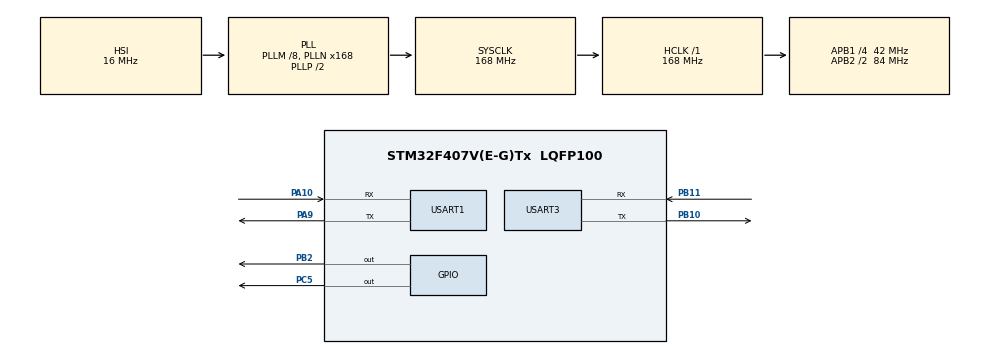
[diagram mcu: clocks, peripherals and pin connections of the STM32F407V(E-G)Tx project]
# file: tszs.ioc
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Mcu.Family=STM32F4
Mcu.Name=STM32F407V(E-G)Tx
Mcu.Package=LQFP100
NVIC.PriorityGroup=NVIC_PRIORITYGROUP_4
NVIC.USART1_IRQn=true\:0\:0\:false\:false\:true\:true\:true\:true
NVIC.USART3_IRQn=true\:0\:0\:false\:false\:true\:true\:true\:true
PA10.Mode=Asynchronous
PA10.Signal=USART1_RX
PA9.Mode=Asynchronous
PA9.Signal=USART1_TX
PB10.Mode=Asynchronous
PB10.Signal=USART3_TX
PB11.Mode=Asynchronous
PB11.Signal=USART3_RX
PB2.PinState=GPIO_PIN_SET
PB2.Signal=GPIO_Output
PC14-OSC32_IN.Mode=LSE-External-Oscillator
PC14-OSC32_IN.Signal=RCC_OSC32_IN
PC15-OSC32_OUT.Mode=LSE-External-Oscillator
PC15-OSC32_OUT.Signal=RCC_OSC32_OUT
PC5.PinState=GPIO_PIN_SET
PC5.Signal=GPIO_Output
PH0-OSC_IN.Mode=HSE-External-Oscillator
PH0-OSC_IN.Signal=RCC_OSC_IN
PH1-OSC_OUT.Mode=HSE-External-Oscillator
PH1-OSC_OUT.Signal=RCC_OSC_OUT
ProjectManager.HeapSize=0x200
ProjectManager.StackSize=0x400
ProjectManager.TargetToolchain=MDK-ARM V5
RCC.48MHZClocksFreq_Value=84000000
RCC.AHBFreq_Value=168000000
RCC.APB1CLKDivider=RCC_HCLK_DIV4
RCC.APB1Freq_Value=42000000
RCC.APB1TimFreq_Value=84000000
RCC.APB2CLKDivider=RCC_HCLK_DIV2
RCC.APB2Freq_Value=84000000
RCC.APB2TimFreq_Value=168000000
RCC.CortexFreq_Value=168000000
RCC.HCLKFreq_Value=168000000
RCC.HSE_VALUE=8000000
RCC.HSI_VALUE=16000000
RCC.PLLM=8
RCC.PLLN=168
RCC.SYSCLKFreq_VALUE=168000000
RCC.SYSCLKSource=RCC_SYSCLKSOURCE_PLLCLK
RCC.VCOOutputFreq_Value=336000000
USART1.VirtualMode=VM_ASYNC
USART3.VirtualMode=VM_ASYNC
board=custom

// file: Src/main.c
/* USER CODE BEGIN Header */
/**
  ******************************************************************************
  * @file           : main.c
  * @brief          : Main program body
  ******************************************************************************
  * @attention
  *
  * <h2><center>&copy; Copyright (c) 2025 STMicroelectronics.
  * All rights reserved.</center></h2>
  *
  * This software component is licensed by ST under BSD 3-Clause license,
  * the "License"; You may not use this file except in compliance with the
  * License. You may obtain a copy of the License at:
  *                        opensource.org/licenses/BSD-3-Clause
  *
  ******************************************************************************
  */
/* USER CODE END Header */
#include "main.h"
#include "usart.h"
#include "gpio.h"

/* USER CODE BEGIN Includes */
#include "string.h"
#include "stdio.h"
#include "stdlib.h"
#include "MoRTOS.h"
#include "MoRTOS_cli.h"
#include "MoRTOS_wifi.h"
#include "MoRTOS_led.h"
/* USER CODE END Includes */

void SystemClock_Config(void);

/* USER CODE BEGIN 0 */

void HAL_UART_RxCpltCallback(UART_HandleTypeDef *huart)
{
	  if(huart->Instance == USART1)
    {
			CLI_UARTCallback(huart);
    }

		else if(huart->Instance == USART3)
		{

		}

}

/* USER CODE END 0 */

int main(void)
{

  /* MCU Configuration--------------------------------------------------------*/

  /* Reset of all peripherals, Initializes the Flash interface and the Systick. */
  HAL_Init();

  /* Configure the system clock */
  SystemClock_Config();

  /* Initialize all configured peripherals */
  MX_GPIO_Init();
  MX_USART1_UART_Init();
  MX_USART3_UART_Init();
  /* USER CODE BEGIN 2 */
	MoRTOS_Init();
	Module_Register(&CLI_Module);
	Module_Register(&LED_Module);
	MoRTOS_Start();
  /* USER CODE END 2 */

  /* Infinite loop */
  while (1)
  {

  }
}

void SystemClock_Config(void)
{
  RCC_OscInitTypeDef RCC_OscInitStruct = {0};
  RCC_ClkInitTypeDef RCC_ClkInitStruct = {0};

  /** Configure the main internal regulator output voltage
  */
  __HAL_RCC_PWR_CLK_ENABLE();
  __HAL_PWR_VOLTAGESCALING_CONFIG(PWR_REGULATOR_VOLTAGE_SCALE1);

  /** Initializes the RCC Oscillators according to the specified parameters
  * in the RCC_OscInitTypeDef structure.
  */
  RCC_OscInitStruct.OscillatorType = RCC_OSCILLATORTYPE_HSI;
  RCC_OscInitStruct.HSIState = RCC_HSI_ON;
  RCC_OscInitStruct.HSICalibrationValue = RCC_HSICALIBRATION_DEFAULT;
  RCC_OscInitStruct.PLL.PLLState = RCC_PLL_ON;
  RCC_OscInitStruct.PLL.PLLSource = RCC_PLLSOURCE_HSI;
  RCC_OscInitStruct.PLL.PLLM = 8;
  RCC_OscInitStruct.PLL.PLLN = 168;
  RCC_OscInitStruct.PLL.PLLP = RCC_PLLP_DIV2;
  RCC_OscInitStruct.PLL.PLLQ = 4;
  if (HAL_RCC_OscConfig(&RCC_OscInitStruct) != HAL_OK)
  {
    Error_Handler();
  }

  /** Initializes the CPU, AHB and APB buses clocks
  */
  RCC_ClkInitStruct.ClockType = RCC_CLOCKTYPE_HCLK|RCC_CLOCKTYPE_SYSCLK
                              |RCC_CLOCKTYPE_PCLK1|RCC_CLOCKTYPE_PCLK2;
  RCC_ClkInitStruct.SYSCLKSource = RCC_SYSCLKSOURCE_PLLCLK;
  RCC_ClkInitStruct.AHBCLKDivider = RCC_SYSCLK_DIV1;
  RCC_ClkInitStruct.APB1CLKDivider = RCC_HCLK_DIV4;
  RCC_ClkInitStruct.APB2CLKDivider = RCC_HCLK_DIV2;

  if (HAL_RCC_ClockConfig(&RCC_ClkInitStruct, FLASH_LATENCY_5) != HAL_OK)
  {
    Error_Handler();
  }
}

/* USER CODE BEGIN 4 */

#include <stdio.h>
struct __FILE
{
  int handle;
  /* Whatever you require here. If the only file you are using is */
  /* standard output using printf() for debugging, no file handling */
  /* is required. */
};
/* FILE is  in stdio.h. */
FILE __stdout;
int fputc(int ch, FILE *f)
{
	HAL_UART_Transmit(&huart1,(u8 *)&ch,1,50);
  /* Your implementation of fputc(). */
  return ch;
}

/* USER CODE END 4 */

void Error_Handler(void)
{
  __disable_irq();
  while (1)
  {
  }
}
